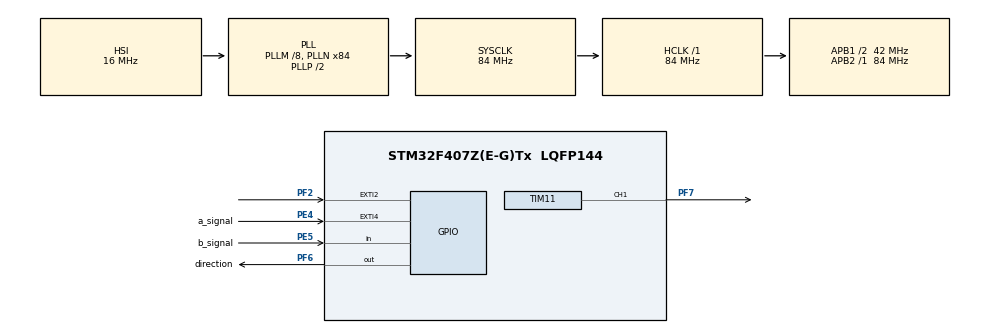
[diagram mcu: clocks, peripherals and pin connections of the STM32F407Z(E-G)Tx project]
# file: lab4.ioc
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Mcu.Family=STM32F4
Mcu.Name=STM32F407Z(E-G)Tx
Mcu.Package=LQFP144
NVIC.EXTI2_IRQn=true\:0\:0\:false\:false\:true\:true\:true\:true
NVIC.EXTI4_IRQn=true\:0\:0\:false\:false\:true\:true\:true\:true
NVIC.PriorityGroup=NVIC_PRIORITYGROUP_4
NVIC.TIM1_TRG_COM_TIM11_IRQn=true\:0\:0\:false\:false\:true\:true\:true\:true
NVIC.TIM6_DAC_IRQn=true\:0\:0\:false\:false\:true\:true\:true\:true
NVIC.TIM7_IRQn=true\:0\:0\:false\:false\:true\:true\:true\:true
PE4.GPIO_Label=a_signal
PE4.Signal=GPXTI4
PE5.GPIO_Label=b_signal
PE5.Signal=GPIO_Input
PF2.Signal=GPXTI2
PF6.GPIO_Label=direction
PF6.Signal=GPIO_Output
PF7.Signal=S_TIM11_CH1
ProjectManager.HeapSize=0x200
ProjectManager.StackSize=0x400
ProjectManager.TargetToolchain=STM32CubeIDE
RCC.48MHZClocksFreq_Value=42000000
RCC.AHBFreq_Value=84000000
RCC.APB1CLKDivider=RCC_HCLK_DIV2
RCC.APB1Freq_Value=42000000
RCC.APB1TimFreq_Value=84000000
RCC.APB2Freq_Value=84000000
RCC.APB2TimFreq_Value=84000000
RCC.CortexFreq_Value=84000000
RCC.HCLKFreq_Value=84000000
RCC.HSE_VALUE=25000000
RCC.HSI_VALUE=16000000
RCC.LSE_VALUE=32768
RCC.PLLM=8
RCC.PLLN=84
RCC.SYSCLKFreq_VALUE=84000000
RCC.SYSCLKSource=RCC_SYSCLKSOURCE_PLLCLK
RCC.VCOOutputFreq_Value=168000000
SH.S_TIM11_CH1.0=TIM11_CH1,PWM Generation1 CH1
TIM11.Channel=TIM_CHANNEL_1
TIM6.TIM_MasterOutputTrigger=TIM_TRGO_UPDATE
TIM7.TIM_MasterOutputTrigger=TIM_TRGO_UPDATE
VP_TIM11_VS_ClockSourceINT.Mode=Enable_Timer
VP_TIM6_VS_ClockSourceINT.Mode=Enable_Timer
VP_TIM7_VS_ClockSourceINT.Mode=Enable_Timer
board=custom

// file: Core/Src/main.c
/* USER CODE BEGIN Header */
/**
  ******************************************************************************
  * @file           : main.c
  * @brief          : Main program body
  ******************************************************************************
  * @attention
  *
  * Copyright (c) 2023 STMicroelectronics.
  * All rights reserved.
  *
  * This software is licensed under terms that can be found in the LICENSE file
  * in the root directory of this software component.
  * If no LICENSE file comes with this software, it is provided AS-IS.
  *
  ******************************************************************************
  */
/* USER CODE END Header */
#include "main.h"

 TIM_HandleTypeDef htim6;
TIM_HandleTypeDef htim7;
TIM_HandleTypeDef htim11;

/* USER CODE BEGIN PV */
uint16_t pulse_number = 0;
uint16_t position_pulse = 0;
uint16_t rpm = 0;
uint16_t position = 0;
uint16_t direction = 0;

float u = 0.0f, u_1 = 0.0f, e = 0.0f, e_1 = 0.0f;
float K_p = 0.02f, K_i = 0.01f;
float T_s = 0.02f;

uint16_t sp_values[3] = {300,500,1000};
uint16_t sp_duration[3] = {5,5,5};
uint16_t sp_counter = 0;
uint16_t sp_index = 0;
int set_point = 0;
int start = 0;
/* USER CODE END PV */

void SystemClock_Config(void);
static void MX_GPIO_Init(void);
static void MX_TIM6_Init(void);
static void MX_TIM7_Init(void);
static void MX_TIM11_Init(void);

int main(void)
{

  /* MCU Configuration--------------------------------------------------------*/

  /* Reset of all peripherals, Initializes the Flash interface and the Systick. */
  HAL_Init();

  /* Configure the system clock */
  SystemClock_Config();

  /* Initialize all configured peripherals */
  MX_GPIO_Init();
  MX_TIM6_Init();
  MX_TIM7_Init();
  MX_TIM11_Init();
  /* USER CODE BEGIN 2 */
  TIM6->PSC = 83;
  TIM6->ARR = 9999;
  HAL_TIM_Base_Start_IT(&htim6);

  TIM7->PSC = 167;
  TIM7->ARR = 9999;

  TIM11->PSC = 13;
  TIM11->ARR = 399;
  TIM11->CCR1 = 80;
  HAL_TIM_PWM_Start(&htim11, TIM_CHANNEL_1);

  HAL_Delay(1000);
  /* USER CODE END 2 */

  /* Infinite loop */
  while (1)
  {

  }
}

void SystemClock_Config(void)
{
  RCC_OscInitTypeDef RCC_OscInitStruct = {0};
  RCC_ClkInitTypeDef RCC_ClkInitStruct = {0};

  /** Configure the main internal regulator output voltage
  */
  __HAL_RCC_PWR_CLK_ENABLE();
  __HAL_PWR_VOLTAGESCALING_CONFIG(PWR_REGULATOR_VOLTAGE_SCALE1);

  /** Initializes the RCC Oscillators according to the specified parameters
  * in the RCC_OscInitTypeDef structure.
  */
  RCC_OscInitStruct.OscillatorType = RCC_OSCILLATORTYPE_HSI;
  RCC_OscInitStruct.HSIState = RCC_HSI_ON;
  RCC_OscInitStruct.HSICalibrationValue = RCC_HSICALIBRATION_DEFAULT;
  RCC_OscInitStruct.PLL.PLLState = RCC_PLL_ON;
  RCC_OscInitStruct.PLL.PLLSource = RCC_PLLSOURCE_HSI;
  RCC_OscInitStruct.PLL.PLLM = 8;
  RCC_OscInitStruct.PLL.PLLN = 84;
  RCC_OscInitStruct.PLL.PLLP = RCC_PLLP_DIV2;
  RCC_OscInitStruct.PLL.PLLQ = 4;
  if (HAL_RCC_OscConfig(&RCC_OscInitStruct) != HAL_OK)
  {
    Error_Handler();
  }

  /** Initializes the CPU, AHB and APB buses clocks
  */
  RCC_ClkInitStruct.ClockType = RCC_CLOCKTYPE_HCLK|RCC_CLOCKTYPE_SYSCLK
                              |RCC_CLOCKTYPE_PCLK1|RCC_CLOCKTYPE_PCLK2;
  RCC_ClkInitStruct.SYSCLKSource = RCC_SYSCLKSOURCE_PLLCLK;
  RCC_ClkInitStruct.AHBCLKDivider = RCC_SYSCLK_DIV1;
  RCC_ClkInitStruct.APB1CLKDivider = RCC_HCLK_DIV2;
  RCC_ClkInitStruct.APB2CLKDivider = RCC_HCLK_DIV1;

  if (HAL_RCC_ClockConfig(&RCC_ClkInitStruct, FLASH_LATENCY_2) != HAL_OK)
  {
    Error_Handler();
  }
}

static void MX_TIM6_Init(void)
{

  TIM_MasterConfigTypeDef sMasterConfig = {0};

  htim6.Instance = TIM6;
  htim6.Init.Prescaler = 0;
  htim6.Init.CounterMode = TIM_COUNTERMODE_UP;
  htim6.Init.Period = 65535;
  htim6.Init.AutoReloadPreload = TIM_AUTORELOAD_PRELOAD_DISABLE;
  if (HAL_TIM_Base_Init(&htim6) != HAL_OK)
  {
    Error_Handler();
  }
  sMasterConfig.MasterOutputTrigger = TIM_TRGO_UPDATE;
  sMasterConfig.MasterSlaveMode = TIM_MASTERSLAVEMODE_DISABLE;
  if (HAL_TIMEx_MasterConfigSynchronization(&htim6, &sMasterConfig) != HAL_OK)
  {
    Error_Handler();
  }

}

static void MX_TIM7_Init(void)
{

  TIM_MasterConfigTypeDef sMasterConfig = {0};

  htim7.Instance = TIM7;
  htim7.Init.Prescaler = 0;
  htim7.Init.CounterMode = TIM_COUNTERMODE_UP;
  htim7.Init.Period = 65535;
  htim7.Init.AutoReloadPreload = TIM_AUTORELOAD_PRELOAD_DISABLE;
  if (HAL_TIM_Base_Init(&htim7) != HAL_OK)
  {
    Error_Handler();
  }
  sMasterConfig.MasterOutputTrigger = TIM_TRGO_UPDATE;
  sMasterConfig.MasterSlaveMode = TIM_MASTERSLAVEMODE_DISABLE;
  if (HAL_TIMEx_MasterConfigSynchronization(&htim7, &sMasterConfig) != HAL_OK)
  {
    Error_Handler();
  }

}

static void MX_TIM11_Init(void)
{

  TIM_OC_InitTypeDef sConfigOC = {0};

  htim11.Instance = TIM11;
  htim11.Init.Prescaler = 0;
  htim11.Init.CounterMode = TIM_COUNTERMODE_UP;
  htim11.Init.Period = 65535;
  htim11.Init.ClockDivision = TIM_CLOCKDIVISION_DIV1;
  htim11.Init.AutoReloadPreload = TIM_AUTORELOAD_PRELOAD_DISABLE;
  if (HAL_TIM_Base_Init(&htim11) != HAL_OK)
  {
    Error_Handler();
  }
  if (HAL_TIM_PWM_Init(&htim11) != HAL_OK)
  {
    Error_Handler();
  }
  sConfigOC.OCMode = TIM_OCMODE_PWM1;
  sConfigOC.Pulse = 0;
  sConfigOC.OCPolarity = TIM_OCPOLARITY_HIGH;
  sConfigOC.OCFastMode = TIM_OCFAST_DISABLE;
  if (HAL_TIM_PWM_ConfigChannel(&htim11, &sConfigOC, TIM_CHANNEL_1) != HAL_OK)
  {
    Error_Handler();
  }
  HAL_TIM_MspPostInit(&htim11);

}

static void MX_GPIO_Init(void)
{
  GPIO_InitTypeDef GPIO_InitStruct = {0};

  /* GPIO Ports Clock Enable */
  __HAL_RCC_GPIOE_CLK_ENABLE();
  __HAL_RCC_GPIOF_CLK_ENABLE();

  /*Configure GPIO pin Output Level */
  HAL_GPIO_WritePin(direction_GPIO_Port, direction_Pin, GPIO_PIN_RESET);

  /*Configure GPIO pin : a_signal_Pin */
  GPIO_InitStruct.Pin = a_signal_Pin;
  GPIO_InitStruct.Mode = GPIO_MODE_IT_RISING;
  GPIO_InitStruct.Pull = GPIO_NOPULL;
  HAL_GPIO_Init(a_signal_GPIO_Port, &GPIO_InitStruct);

  /*Configure GPIO pin : b_signal_Pin */
  GPIO_InitStruct.Pin = b_signal_Pin;
  GPIO_InitStruct.Mode = GPIO_MODE_INPUT;
  GPIO_InitStruct.Pull = GPIO_NOPULL;
  HAL_GPIO_Init(b_signal_GPIO_Port, &GPIO_InitStruct);

  /*Configure GPIO pin : PF2 */
  GPIO_InitStruct.Pin = GPIO_PIN_2;
  GPIO_InitStruct.Mode = GPIO_MODE_IT_RISING;
  GPIO_InitStruct.Pull = GPIO_NOPULL;
  HAL_GPIO_Init(GPIOF, &GPIO_InitStruct);

  /*Configure GPIO pin : direction_Pin */
  GPIO_InitStruct.Pin = direction_Pin;
  GPIO_InitStruct.Mode = GPIO_MODE_OUTPUT_PP;
  GPIO_InitStruct.Pull = GPIO_NOPULL;
  GPIO_InitStruct.Speed = GPIO_SPEED_FREQ_LOW;
  HAL_GPIO_Init(direction_GPIO_Port, &GPIO_InitStruct);

  /* EXTI interrupt init*/
  HAL_NVIC_SetPriority(EXTI2_IRQn, 0, 0);
  HAL_NVIC_EnableIRQ(EXTI2_IRQn);

  HAL_NVIC_SetPriority(EXTI4_IRQn, 0, 0);
  HAL_NVIC_EnableIRQ(EXTI4_IRQn);

}

/* USER CODE BEGIN 4 */
void pwm_command(float voltage){
	GPIO_PinState pin_state = voltage >= 0 ? GPIO_PIN_SET : GPIO_PIN_RESET;
	HAL_GPIO_WritePin(direction_GPIO_Port, direction_Pin, pin_state);
	voltage = (voltage >= 0) ? voltage : -1 * voltage;
	TIM11->CCR1 = (uint32_t) ((voltage / 12.0f)*400);
}

void HAL_TIM_PeriodElapsedCallback(TIM_HandleTypeDef *htim){
	if(htim -> Instance == TIM6){
		rpm = (pulse_number*6000)/1024 ;
		position = position_pulse % 1024;
		pulse_number = 0;
	}
	if(htim->Instance == TIM7){
		sp_counter++;
		set_point = sp_values[sp_index];
		if (sp_counter > 50 * sp_duration[sp_index]){
			sp_index++;
			if(sp_index>2)sp_index=0;
			sp_counter = 0;
		}

		e = set_point - rpm;
		u = u_1 + (T_s * K_i + K_p) * e - K_p * e_1;
		pwm_command(u);
		e_1 = e;
		u_1 = u;
	}
}
void HAL_GPIO_EXTI_Callback(uint16_t GPIO_Pin){
	if(GPIO_Pin == a_signal_Pin){
		pulse_number++;

		if(HAL_GPIO_ReadPin(b_signal_GPIO_Port,b_signal_Pin) == GPIO_PIN_SET){
			direction = 1;
			position_pulse--;
		}
		else {
			direction = 0;
			position_pulse++;
		}
	}
	if(GPIO_Pin == GPIO_PIN_2){
		start = (start > 0)? 0 :1;
		 if (start > 0){
			 HAL_TIM_Base_Start_IT(&htim7);
		 }else {
			 HAL_TIM_Base_Stop_IT(&htim7);
			 pwm_command(0);
		 }
	}
}
/* USER CODE END 4 */

void Error_Handler(void)
{
  __disable_irq();
  while (1)
  {
  }
}
